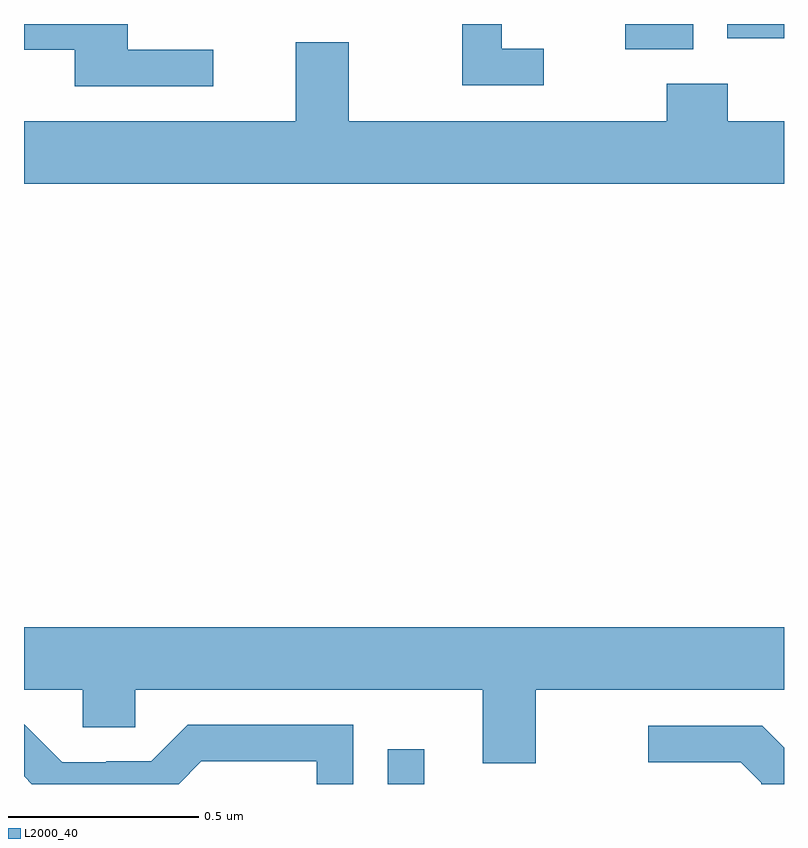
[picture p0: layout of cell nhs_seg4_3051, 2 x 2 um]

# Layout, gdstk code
import gdstk
lib = gdstk.Library(unit=1e-6, precision=1e-09)
def R(c, l, rs):  # rectangles x0, y0, x1, y1
    for r in rs: c.add(gdstk.rectangle(r[:2], r[2:], *l))
def P(c, l, *ps):  # polygons
    for p in ps: c.add(gdstk.Polygon(p, *l))
L2000_40 = (2000, 40)

nhs_seg4_3051 = lib.new_cell('nhs_seg4_3051')
R(nhs_seg4_3051, L2000_40, [(148.957,801.9,149.053,801.991), (149.582,803.834,149.761,803.9), (149.85,803.863,150,803.9)])
P(nhs_seg4_3051, L2000_40, [(148.498,803.832),(148.273,803.832),(148.273,803.9),(148,803.9),(148,803.832),(148.133,803.832),(148.133,803.736),(148.498,803.736)],
  [(149.368,803.835),(149.257,803.835),(149.257,803.9),(149.153,803.9),(149.153,803.739),(149.368,803.739)],
  [(150,803.644),(149.852,803.644),(149.852,803.743),(149.692,803.743),(149.692,803.644),(148.855,803.644),(148.855,803.852),(148.715,803.852),(148.715,803.644),(148,803.644),(148,803.48),(150,803.48)],
  [(149.347,802.148),(150,802.148),(150,802.312),(148,802.312),(148,802.148),(148.155,802.148),(148.155,802.05),(148.293,802.05),(148.293,802.148),(149.207,802.148),(149.207,801.954),(149.347,801.954)],
  [(148.467,801.96),(148.77,801.96),(148.77,801.9),(148.866,801.9),(148.866,802.056),(148.431,802.056),(148.335,801.96),(148.217,801.96),(148.217,801.957),(148.101,801.957),(148.001,802.057),(148,802.057),(148,801.92),(148.02,801.9),(148.407,801.9)],
  [(150,801.996),(149.943,802.053),(149.643,802.053),(149.643,801.957),(149.886,801.957),(149.94,801.903),(149.94,801.9),(150,801.9)])

lib.write_gds('nhs_seg4_3051.gds')
